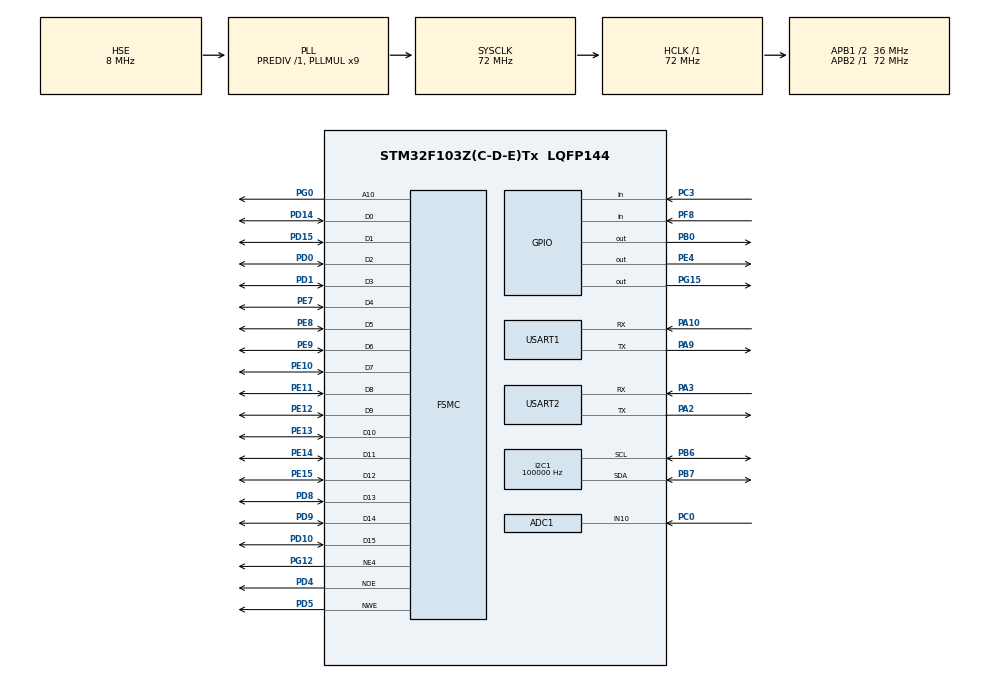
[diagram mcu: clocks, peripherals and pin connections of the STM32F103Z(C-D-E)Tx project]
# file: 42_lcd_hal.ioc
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ADC1.Channel-0\#ChannelRegularConversion=ADC_CHANNEL_10
ADC1.NbrOfConversionFlag=1
ADC1.Rank-0\#ChannelRegularConversion=1
ADC1.SamplingTime-0\#ChannelRegularConversion=ADC_SAMPLETIME_1CYCLE_5
ADC1.master=1
FREERTOS.Tasks01=sensortask,24,256,StartDefaultTask,Default,NULL,Dynamic,NULL,NULL;uitask,8,256,StartTask02,Default,NULL,Dynamic,NULL,NULL;uarttask,8,256,StartTask03,Default,NULL,Dynamic,NULL,NULL;otaTask,33,1024,StartOtaTask,Default,NULL,Dynamic,NULL,NULL
FREERTOS.configTOTAL_HEAP_SIZE=12288
FSMC.DataSetupTime1=71
I2C1.ClockSpeed=100000
Mcu.Family=STM32F1
Mcu.Name=STM32F103Z(C-D-E)Tx
Mcu.Package=LQFP144
NVIC.PriorityGroup=NVIC_PRIORITYGROUP_4
NVIC.TIM6_IRQn=true\:15\:0\:false\:false\:true\:false\:false\:true\:true
NVIC.TimeBase=TIM6_IRQn
NVIC.TimeBaseIP=TIM6
NVIC.USART2_IRQn=true\:5\:0\:false\:false\:true\:true\:true\:true\:true
OSC_IN.Mode=HSE-External-Oscillator
OSC_IN.Signal=RCC_OSC_IN
OSC_OUT.Mode=HSE-External-Oscillator
OSC_OUT.Signal=RCC_OSC_OUT
PA10.Mode=Asynchronous
PA10.Signal=USART1_RX
PA13.Mode=Serial_Wire
PA13.Signal=SYS_JTMS-SWDIO
PA14.Mode=Serial_Wire
PA14.Signal=SYS_JTCK-SWCLK
PA2.Mode=Asynchronous
PA2.Signal=USART2_TX
PA3.Mode=Asynchronous
PA3.Signal=USART2_RX
PA9.Mode=Asynchronous
PA9.Signal=USART1_TX
PB0.GPIO_Speed=GPIO_SPEED_FREQ_HIGH
PB0.Signal=GPIO_Output
PB6.Mode=I2C
PB6.Signal=I2C1_SCL
PB7.Mode=I2C
PB7.Signal=I2C1_SDA
PC0.Signal=ADCx_IN10
PC14-OSC32_IN.Mode=LSE-External-Oscillator
PC14-OSC32_IN.Signal=RCC_OSC32_IN
PC15-OSC32_OUT.Mode=LSE-External-Oscillator
PC15-OSC32_OUT.Signal=RCC_OSC32_OUT
PC3.GPIO_PuPd=GPIO_PULLUP
PC3.Signal=GPIO_Input
PD0.Signal=FSMC_D2_DA2
PD1.Signal=FSMC_D3_DA3
PD10.Signal=FSMC_D15_DA15
PD14.Signal=FSMC_D0_DA0
PD15.Signal=FSMC_D1_DA1
PD4.Signal=FSMC_NOE
PD5.Signal=FSMC_NWE
PD8.Signal=FSMC_D13_DA13
PD9.Signal=FSMC_D14_DA14
PE10.Signal=FSMC_D7_DA7
PE11.Signal=FSMC_D8_DA8
PE12.Signal=FSMC_D9_DA9
PE13.Signal=FSMC_D10_DA10
PE14.Signal=FSMC_D11_DA11
PE15.Signal=FSMC_D12_DA12
PE4.GPIO_Speed=GPIO_SPEED_FREQ_HIGH
PE4.PinState=GPIO_PIN_SET
PE4.Signal=GPIO_Output
PE7.Signal=FSMC_D4_DA4
PE8.Signal=FSMC_D5_DA5
PE9.Signal=FSMC_D6_DA6
PF8.GPIO_PuPd=GPIO_PULLUP
PF8.Signal=GPIO_Input
PG0.Signal=FSMC_A10
PG12.Mode=NorPsramChipSelect4_1
PG12.Signal=FSMC_NE4
PG15.GPIO_Speed=GPIO_SPEED_FREQ_HIGH
PG15.PinState=GPIO_PIN_SET
PG15.Signal=GPIO_Output
ProjectManager.HeapSize=0x200
ProjectManager.StackSize=0x400
ProjectManager.TargetToolchain=MDK-ARM V5.32
RCC.ADCPresc=RCC_ADCPCLK2_DIV6
RCC.AHBFreq_Value=72000000
RCC.APB1CLKDivider=RCC_HCLK_DIV2
RCC.APB1Freq_Value=36000000
RCC.APB1TimFreq_Value=72000000
RCC.APB2Freq_Value=72000000
RCC.APB2TimFreq_Value=72000000
RCC.HCLKFreq_Value=72000000
RCC.PLLMUL=RCC_PLL_MUL9
RCC.PLLSourceVirtual=RCC_PLLSOURCE_HSE
RCC.SYSCLKFreq_VALUE=72000000
RCC.SYSCLKSource=RCC_SYSCLKSOURCE_PLLCLK
RCC.USBFreq_Value=72000000
SH.ADCx_IN10.0=ADC1_IN10,IN10
SH.FSMC_A10.0=FSMC_A10,A10_1
SH.FSMC_D0_DA0.0=FSMC_D0,16b-d1
SH.FSMC_D10_DA10.0=FSMC_D10,16b-d1
SH.FSMC_D11_DA11.0=FSMC_D11,16b-d1
SH.FSMC_D12_DA12.0=FSMC_D12,16b-d1
SH.FSMC_D13_DA13.0=FSMC_D13,16b-d1
SH.FSMC_D14_DA14.0=FSMC_D14,16b-d1
SH.FSMC_D15_DA15.0=FSMC_D15,16b-d1
SH.FSMC_D1_DA1.0=FSMC_D1,16b-d1
SH.FSMC_D2_DA2.0=FSMC_D2,16b-d1
SH.FSMC_D3_DA3.0=FSMC_D3,16b-d1
SH.FSMC_D4_DA4.0=FSMC_D4,16b-d1
SH.FSMC_D5_DA5.0=FSMC_D5,16b-d1
SH.FSMC_D6_DA6.0=FSMC_D6,16b-d1
SH.FSMC_D7_DA7.0=FSMC_D7,16b-d1
SH.FSMC_D8_DA8.0=FSMC_D8,16b-d1
SH.FSMC_D9_DA9.0=FSMC_D9,16b-d1
SH.FSMC_NOE.0=FSMC_NOE,Lcd1
SH.FSMC_NWE.0=FSMC_NWE,Lcd1
USART1.VirtualMode=VM_ASYNC
USART2.VirtualMode=VM_ASYNC
VP_FREERTOS_VS_CMSIS_V2.Mode=CMSIS_V2
VP_SYS_VS_tim6.Mode=TIM6
board=custom

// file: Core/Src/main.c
/* USER CODE BEGIN Header */
/**
  ******************************************************************************
  * @file           : main.c
  * @brief          : 系统上电入口，由 CubeMX 生成框架并保留 USER CODE 区域。
  *
  * 阅读重点：main 只完成 HAL/时钟/外设初始化、启动 LCD 和 ESP32，然后创建
  * FreeRTOS 内核。osKernelStart() 成功后业务都在 freertos.c 的四个任务中运行，
  * 因此下面的 while(1) 正常情况下永远不会执行。
  ******************************************************************************
  * @attention
  *
  * Copyright (c) 2026 STMicroelectronics.
  * All rights reserved.
  *
  * This software is licensed under terms that can be found in the LICENSE file
  * in the root directory of this software component.
  * If no LICENSE file comes with this software, it is provided AS-IS.
  *
  ******************************************************************************
  */
/* USER CODE END Header */
#include "main.h"
#include "cmsis_os.h"
#include "adc.h"
#include "i2c.h"
#include "usart.h"
#include "gpio.h"
#include "fsmc.h"

/* USER CODE BEGIN Includes */
/* LCD 是项目自写模块，放在 USER CODE 区可以防止 CubeMX 重新生成时丢失引用。 */
#include "lcd.h"
#include "ota_layout.h"

/* USER CODE END Includes */

void SystemClock_Config(void);
void MX_FREERTOS_Init(void);

int main(void)
{

  /* MCU Configuration--------------------------------------------------------*/

  /* Reset of all peripherals, Initializes the Flash interface and the Systick. */
  HAL_Init();

  /* Configure the system clock */
  SystemClock_Config();

  /* Initialize all configured peripherals */
  MX_GPIO_Init();
  MX_FSMC_Init();
  MX_USART1_UART_Init();
  MX_USART2_UART_Init();
  MX_I2C1_Init();
  MX_ADC1_Init();
  /* USER CODE BEGIN 2 */
  /*
   * 先完成 GPIO/FSMC/UART/I2C/ADC，再启动依赖这些外设的自写模块。
   * LCD_Init 会再次调用 MX_FSMC_Init，当前配置重复初始化无害但不是业务入口。
   */
  /* LCD 驱动不属于 CubeMX，由用户代码在此初始化。 */
  LCD_Init();
  /* PE4 用于 ESP32 模块使能；Arduino 程序启动后可直接与 USART2 通信。 */
  Board_Esp32Enable_Init();

  /* USER CODE END 2 */

  /* Init scheduler */
  osKernelInitialize();

  /* Call init function for freertos objects (in freertos.c) */
  MX_FREERTOS_Init();

  /* Start scheduler */
  osKernelStart();

  /* We should never get here as control is now taken by the scheduler */
  /* Infinite loop */
  /* USER CODE BEGIN WHILE */
  while (1)
  {
    /* 只有调度器异常返回时才会到这里；不在此循环安排正常业务。 */
    /* USER CODE END WHILE */

  }
}

void SystemClock_Config(void)
{
  RCC_OscInitTypeDef RCC_OscInitStruct = {0};
  RCC_ClkInitTypeDef RCC_ClkInitStruct = {0};
  RCC_PeriphCLKInitTypeDef PeriphClkInit = {0};

  /** Initializes the RCC Oscillators according to the specified parameters
  * in the RCC_OscInitTypeDef structure.
  */
  RCC_OscInitStruct.OscillatorType = RCC_OSCILLATORTYPE_HSE;
  RCC_OscInitStruct.HSEState = RCC_HSE_ON;
  RCC_OscInitStruct.HSEPredivValue = RCC_HSE_PREDIV_DIV1;
  RCC_OscInitStruct.HSIState = RCC_HSI_ON;
  RCC_OscInitStruct.PLL.PLLState = RCC_PLL_ON;
  RCC_OscInitStruct.PLL.PLLSource = RCC_PLLSOURCE_HSE;
  RCC_OscInitStruct.PLL.PLLMUL = RCC_PLL_MUL9;
  if (HAL_RCC_OscConfig(&RCC_OscInitStruct) != HAL_OK)
  {
    Error_Handler();
  }

  /** Initializes the CPU, AHB and APB buses clocks
  */
  RCC_ClkInitStruct.ClockType = RCC_CLOCKTYPE_HCLK|RCC_CLOCKTYPE_SYSCLK
                              |RCC_CLOCKTYPE_PCLK1|RCC_CLOCKTYPE_PCLK2;
  RCC_ClkInitStruct.SYSCLKSource = RCC_SYSCLKSOURCE_PLLCLK;
  RCC_ClkInitStruct.AHBCLKDivider = RCC_SYSCLK_DIV1;
  RCC_ClkInitStruct.APB1CLKDivider = RCC_HCLK_DIV2;
  RCC_ClkInitStruct.APB2CLKDivider = RCC_HCLK_DIV1;

  if (HAL_RCC_ClockConfig(&RCC_ClkInitStruct, FLASH_LATENCY_2) != HAL_OK)
  {
    Error_Handler();
  }
  PeriphClkInit.PeriphClockSelection = RCC_PERIPHCLK_ADC;
  PeriphClkInit.AdcClockSelection = RCC_ADCPCLK2_DIV6;
  if (HAL_RCCEx_PeriphCLKConfig(&PeriphClkInit) != HAL_OK)
  {
    Error_Handler();
  }
}

void HAL_TIM_PeriodElapsedCallback(TIM_HandleTypeDef *htim)
{
  if (htim->Instance == TIM6) {
    HAL_IncTick();
  }
}

void Error_Handler(void)
{
  /* USER CODE BEGIN Error_Handler_Debug */
  /*
   * 初始化或任务创建失败时关闭中断并停机，便于调试器定位现场。
   * 产品化时可以在这里增加独立看门狗复位或不依赖故障外设的错误指示灯。
   */
  __disable_irq();
  while (1)
  {
  }
  /* USER CODE END Error_Handler_Debug */
}

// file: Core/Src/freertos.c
/*
 * @Author: error: error: git config user.name & please set dead value or install git && error: git config user.email & please set dead value or install git & please set dead value or install git
 * @Date: 2026-07-29 17:33:44
 * @LastEditors: error: error: git config user.name & please set dead value or install git && error: git config user.email & please set dead value or install git & please set dead value or install git
 * @LastEditTime: 2026-09-17 16:26:58
 * @FilePath: \MDK-ARMd:\aiguigu\huanjing_freeRTOS_HAL\huanjing_freeRTOS_HAL\huanjing_HAL\Core\Src\freertos.c
 * @Description: 这是默认设置,请设置`customMade`, 打开koroFileHeader查看配置 进行设置: https://github.com/OBKoro1/koro1FileHeader/wiki/%E9%85%8D%E7%BD%AE
 */
/*
 * @Author: error: error: git config user.name & please set dead value or install git && error: git config user.email & please set dead value or install git & please set dead value or install git
 * @Date: 2026-07-29 17:33:44
 * @LastEditors: error: error: git config user.name & please set dead value or install git && error: git config user.email & please set dead value or install git & please set dead value or install git
 * @LastEditTime: 2026-09-17 16:26:54
 * @FilePath: \MDK-ARMd:\aiguigu\huanjing_freeRTOS_HAL\huanjing_freeRTOS_HAL\huanjing_HAL\Core\Src\freertos.c
 * @Description: 这是默认设置,请设置`customMade`, 打开koroFileHeader查看配置 进行设置: https://github.com/OBKoro1/koro1FileHeader/wiki/%E9%85%8D%E7%BD%AE
 */
/* USER CODE BEGIN Header */
/**
  ******************************************************************************
  * File Name          : freertos.c
  * Description        : 初学者版 FreeRTOS 任务示例。
  *
  * 手写代码的数据流：
  *   传感器任务 -> latestEnvData -> UI 任务和普通串口任务
  *   USART2 中断 -> 环形缓冲区 -> OTA 任务 -> OTA 协议/ESP32 状态
  *
  * 四个任务的职责：
  *   StartDefaultTask：每秒读取 DHT11、BH1750 和 MQ135；
  *   StartTask02：读取按键、切换页面并刷新 LCD；
  *   StartTask03：每秒把完整环境快照发给 ESP32；
  *   StartOtaTask：持续解析串口协议，并在新固件稳定后确认启动。
  *
  * CubeMX 会管理任务句柄和创建框架，自写内容必须保留在 USER CODE 区域。
  ******************************************************************************
  */
/* USER CODE END Header */

#include "FreeRTOS.h"
#include "task.h"
#include "main.h"
#include "cmsis_os.h"

/* USER CODE BEGIN Includes */
#include "env_sensor.h"
#include "app_key.h"
#include "app_ui.h"
#include "esp32_uart.h"
#include "esp32_status.h"

#include <string.h>
#include <stdio.h>
#include "ota_app.h"
#include "ota_uart.h"
#include "ota_port.h"
#include "ota_port_config.h"
/* USER CODE END Includes */

/* USER CODE BEGIN Variables */
/*
 * 传感器任务写入这份最新环境数据，LCD 任务读取它。
 * 不使用复杂的互斥锁：结构体复制只需要很短时间，因此使用临界区即可。
 */
static EnvData_t latestEnvData;
/* USER CODE END Variables */
/* Definitions for sensortask */
osThreadId_t sensortaskHandle;
const osThreadAttr_t sensortask_attributes = {
  .name = "sensortask",
  .stack_size = 256 * 4,
  .priority = (osPriority_t) osPriorityNormal,
};
/* Definitions for uitask */
osThreadId_t uitaskHandle;
const osThreadAttr_t uitask_attributes = {
  .name = "uitask",
  .stack_size = 256 * 4,
  .priority = (osPriority_t) osPriorityLow,
};
/* Definitions for uarttask */
osThreadId_t uarttaskHandle;
const osThreadAttr_t uarttask_attributes = {
  .name = "uarttask",
  .stack_size = 256 * 4,
  .priority = (osPriority_t) osPriorityLow,
};
/* Definitions for otaTask */
osThreadId_t otaTaskHandle;
const osThreadAttr_t otaTask_attributes = {
  .name = "otaTask",
  .stack_size = 1024 * 4,
  .priority = (osPriority_t) osPriorityAboveNormal1,
};

/* USER CODE BEGIN FunctionPrototypes */
static void RtosData_SaveEnvironment(void);
static void RtosData_CopyEnvironment(EnvData_t *environment);
static bool RtosData_IsEnvironmentReady(const EnvData_t *environment);
static void RtosData_SendEnvironment(const EnvData_t *environment);
static bool RtosTasks_AreCreated(void);
static bool RtosOta_ConfirmWhenStable(uint32_t boot_time);
/* USER CODE END FunctionPrototypes */

void StartDefaultTask(void *argument);
void StartTask02(void *argument);
void StartTask03(void *argument);
void StartOtaTask(void *argument);

void MX_FREERTOS_Init(void); /* (MISRA C 2004 rule 8.1) */

void MX_FREERTOS_Init(void) {
  /* USER CODE BEGIN Init */
  /* 这里只清空软件数据；传感器初始化必须等传感器任务运行后再做。 */
  /* 先初始化跨任务模块，再创建任务；任务一旦运行就可以直接使用它们。 */
  (void)memset(&latestEnvData, 0, sizeof(latestEnvData));
  Esp32Status_Init();
	Esp32Uart_Init();
	OtaApp_Init();
	OtaUart_Init(OTA_APPLICATION_SLOT);
  /* USER CODE END Init */

  /* USER CODE BEGIN RTOS_MUTEX */
  /* 此初学者版本不需要创建互斥锁。 */
  /* USER CODE END RTOS_MUTEX */

  /* Create the thread(s) */
  /* creation of sensortask */
  sensortaskHandle = osThreadNew(StartDefaultTask, NULL, &sensortask_attributes);

  /* creation of uitask */
  uitaskHandle = osThreadNew(StartTask02, NULL, &uitask_attributes);

  /* creation of uarttask */
  uarttaskHandle = osThreadNew(StartTask03, NULL, &uarttask_attributes);

  /* creation of otaTask */
  otaTaskHandle = osThreadNew(StartOtaTask, NULL, &otaTask_attributes);

  /* USER CODE BEGIN RTOS_THREADS */
  /*
   * 动态创建任务会从 FreeRTOS 堆申请内存；返回 NULL 说明堆不够。
   * 此时立即进入 Error_Handler，避免系统看似启动但实际少了关键任务。
   */
  if (!RtosTasks_AreCreated())
  {
    Error_Handler();
  }
  /* USER CODE END RTOS_THREADS */

}

/* USER CODE BEGIN Header_StartDefaultTask */
/**
  * @brief  任务一：采集温湿度、光照和空气质量。
  */
/* USER CODE END Header_StartDefaultTask */
void StartDefaultTask(void *argument)
{
  /* USER CODE BEGIN StartDefaultTask */
  (void)argument;

  /*
   * 传感器没有接线时，I2C 读取可能等待超时。
   * 把初始化放进任务内，能保证 FreeRTOS 调度器和 LCD 不会在启动前被卡住。
   */
  EnvSensor_Init();

  for (;;)
  {
    EnvSensor_Update();
    RtosData_SaveEnvironment();

    /* 每秒采样一次；osDelay 会主动让出 CPU，不能改成 HAL_Delay。 */
    osDelay(1000);
  }
  /* USER CODE END StartDefaultTask */
}

/* USER CODE BEGIN Header_StartTask02 */
/**
  * @brief  任务二：处理 KEY1 并刷新 LCD。
  */
/* USER CODE END Header_StartTask02 */
void StartTask02(void *argument)
{
  /* USER CODE BEGIN StartTask02 */
  EnvData_t environment;
  Esp32Status_t esp32_status;
  (void)argument;

  /* LCD 硬件已在 main.c 初始化，这里只初始化按键与页面状态。 */
  AppKey_Init();
  AppUi_Init();

  for (;;)
  {
    if (AppKey_PageTogglePressed())
    {
      AppUi_TogglePage();
    }

    /* 先复制到局部变量，再绘制 LCD；绘制过程不占用临界区。 */
    RtosData_CopyEnvironment(&environment);
    esp32_status = Esp32Status_Get();
    AppUi_Render(&environment, &esp32_status);

    /* 每 500 ms 刷新一次，人眼看起来稳定，也不会频繁操作 LCD。 */
    osDelay(500);
  }
  /* USER CODE END StartTask02 */
}

/* USER CODE BEGIN Header_StartTask03 */
/**
  * @brief  任务三：与 Arduino ESP32 进行普通 UART 通信。
  */
/* USER CODE END Header_StartTask03 */
void StartTask03(void *argument)
{
  /* USER CODE BEGIN StartTask03 */

  EnvData_t environment;

  (void)argument;

  for (;;)
  {
    /*
     * 从任务一保存的共享数据中复制一份。
     * 不直接读取传感器，避免与任务一同时访问传感器模块。
     */
    RtosData_CopyEnvironment(&environment);

    /*
     * 四项数据有效，并且当前不在 OTA 升级中，才发送。
     * OTA 期间禁止发送 ENV，避免干扰 OTA 数据帧和应答。
     */
    if (RtosData_IsEnvironmentReady(&environment) && !OtaUart_IsBusy())
    {
      RtosData_SendEnvironment(&environment);
    }

    /* 每秒上传一次。 */
    osDelay(1000);
  }

  /* USER CODE END StartTask03 */
}
/* USER CODE BEGIN Header_StartOtaTask */
/**
* @brief 任务四：消费 USART2 字节、推进 OTA 状态机并确认试运行的新固件。
* @param argument CubeMX 任务参数，本项目未使用。
*
* OTA 协议可能擦写 Flash，因此必须在任务上下文运行，不能放进 UART 中断。
* 循环周期为 1 ms，可及时取走环形缓冲区数据；osDelay 会让其他任务继续运行。
*/
/* USER CODE END Header_StartOtaTask */
void StartOtaTask(void *argument)
{
  /* USER CODE BEGIN StartOtaTask */

  uint32_t boot_time;
  bool confirmed = false;

  (void)argument;

  /* 记录本次程序启动时间。 */
  /* 十秒确认窗口从 OTA 任务真正开始运行时计时。 */
  boot_time = HAL_GetTick();

  for (;;)
  {
    /*
     * 处理 ESP32 通过 USART2 发来的数据：
     * STATUS、OTA_BEGIN、固件二进制帧、OTA_END 等。
     */
    /* 一次调用会消费当前已缓存字节，并可能推进文本或二进制帧状态机。 */
    OtaUart_Process();

    /*
     * 如果当前运行的是刚升级的新分区，
     * 并且稳定运行了 10 秒，就确认升级成功。
     */
    if (!confirmed && RtosOta_ConfirmWhenStable(boot_time))
    {
      confirmed = true;
    }

    /*
     * OTA 必须频繁执行，避免 UART 数据堆积。
     * 延时 1 ms 后其他任务仍可运行。
     */
    osDelay(1);
  }

  /* USER CODE END StartOtaTask */
}
/* USER CODE BEGIN Application */

/* 将传感器模块内部的最新一帧数据复制到任务共享副本。 */
static void RtosData_SaveEnvironment(void)
{
  const EnvData_t *environment = EnvSensor_GetData();

  if (environment == NULL)
  {
    return;
  }

  /* 临界区只保护一条结构体赋值，时间极短，不会影响其他任务正常调度。 */
  taskENTER_CRITICAL();
  latestEnvData = *environment;
  taskEXIT_CRITICAL();
}

/* 将共享副本复制给 LCD 任务，避免它读到传感器正在更新的一半数据。 */
static void RtosData_CopyEnvironment(EnvData_t *environment)
{
  if (environment == NULL)
  {
    return;
  }

  taskENTER_CRITICAL();
  *environment = latestEnvData;
  taskEXIT_CRITICAL();
}

/* 四项数据必须来自同一份受保护快照；任一传感器失败时不上传半帧数据。 */
static bool RtosData_IsEnvironmentReady(const EnvData_t *environment)
{
  return (environment != NULL) &&
         environment->temperature_valid &&
         environment->humidity_valid &&
         environment->light_valid &&
         environment->air_valid;
}

/*
 * 把定点数环境数据转换成 ESP32 约定的 ENV 文本。
 * 格式化和串口发送可能耗时，因此调用者必须先把共享数据复制到局部变量，
 * 不能在 FreeRTOS 临界区内调用本函数。
 */
static void RtosData_SendEnvironment(const EnvData_t *environment)
{
  char send_text[64];
  int length;
  int32_t temperature_abs;

  if (environment == NULL)
  {
    return;
  }

  temperature_abs = (int32_t)environment->temperature_tenth;
  if (temperature_abs < 0)
  {
    temperature_abs = -temperature_abs;
  }

  length = snprintf(send_text, sizeof(send_text),
                    "ENV,%s%ld.%ld,%u.%u,%u,%u\r\n",
                    (environment->temperature_tenth < 0) ? "-" : "",
                    (long)(temperature_abs / 10),
                    (long)(temperature_abs % 10),
                    (unsigned int)(environment->humidity_tenth / 10U),
                    (unsigned int)(environment->humidity_tenth % 10U),
                    (unsigned int)environment->light_lux,
                    (unsigned int)environment->air_ppm);

  if ((length > 0) && ((uint32_t)length < sizeof(send_text)))
  {
    (void)Esp32Uart_SendString(send_text);
  }
}

/* 动态任务必须全部创建成功；少一个任务都会留下表面运行、功能残缺的系统。 */
static bool RtosTasks_AreCreated(void)
{
  return (sensortaskHandle != NULL) &&
         (uitaskHandle != NULL) &&
         (uarttaskHandle != NULL) &&
         (otaTaskHandle != NULL);
}

/*
 * 新镜像稳定运行 10 秒后才确认，给启动故障和早期崩溃留下回滚窗口。
 * 返回 true 只表示元数据确认成功；调用者据此停止重复确认。
 */
static bool RtosOta_ConfirmWhenStable(uint32_t boot_time)
{
  char text[40];
  int length;

  /* 第一步：普通开机不用确认，只有刚升级、等待确认的新程序才需要。 */
  if (!OtaApp_IsConfirmationRequired(OTA_APPLICATION_SLOT))
  {
    return false;
  }

  /* 第二步：从 OTA 任务开始运行计时，未满 10 秒就继续等待。
   * 这里只判断经过的时间，不代表已经检查了所有传感器和屏幕功能。 */
  if ((HAL_GetTick() - boot_time) < 10000U)
  {
    return false;
  }

  /* 第三步：把当前区记为已确认区，保存失败时留到下一轮重试。 */
  if (OtaApp_ConfirmRunning(OTA_APPLICATION_SLOT) != HAL_OK)
  {
    return false;
  }

  /* 第四步：通知 ESP32 新程序已确认，发送内容保持原协议。 */

  length = snprintf(text, sizeof(text), "BOOT_OK,%s\r\n", OTA_CURRENT_VERSION);
  if ((length > 0) && ((uint32_t)length < sizeof(text)))
  {
    OtaPort_Send((const uint8_t *)text, (uint16_t)length);
  }

  return true;
}

/* USER CODE END Application */
